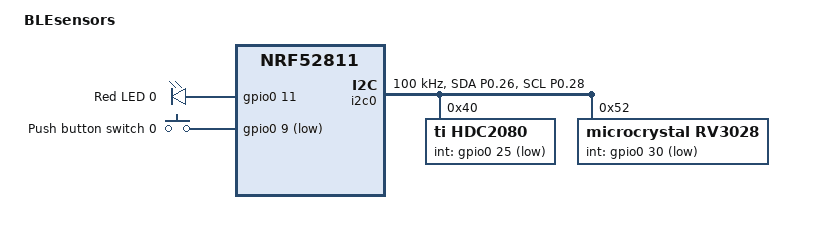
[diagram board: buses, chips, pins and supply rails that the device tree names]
/dts-v1/;
#include <nordic/nrf52811_qfaa.dtsi>

/ {
	model = "BLEsensors";
	compatible = "nordic,nrf52811";

	chosen {
		// zephyr,console = &uart0;
		// zephyr,shell-uart = &uart0;
		// zephyr,uart-mcumgr = &uart0;
		// zephyr,bt-mon-uart = &uart0;
		// zephyr,bt-c2h-uart = &uart0;
		zephyr,sram = &sram0;
		zephyr,flash = &flash0;
		zephyr,code-partition = &slot0_partition;
	};

	leds {
		compatible = "gpio-leds";

		led0: led_0 {
			gpios = <&gpio0 11 GPIO_ACTIVE_HIGH>;
			label = "Red LED 0";
		};
	};

	buttons {
		compatible = "gpio-keys";

		button0: button_0 {
			gpios = <&gpio0 9 (GPIO_PULL_UP | GPIO_ACTIVE_LOW)>;
			label = "Push button switch 0";
			zephyr,code = <INPUT_KEY_0>;
		};
	};

	/* These aliases are provided for compatibility with samples */
	aliases {
		led0 = &led0;
		sw0 = &button0;
	};
};

// &clock {
// 	status = "okay";
// 	lfclk {
// 		source = "LFRC";
// 		cal-enabled = <1>;
// 	};
// };

&reg {
	regulator-initial-mode = <NRF5X_REG_MODE_DCDC>;
};

&uicr {
	gpio-as-nreset;
};

&gpiote {
	status = "okay";
};

&gpio0 {
	status = "okay";
};

&pinctrl {
    i2c0_default: i2c0_default {
        group1 {
            psels = <NRF_PSEL(TWIM_SDA, 0, 26)>,
                    <NRF_PSEL(TWIM_SCL, 0, 28)>;
        };
    };
    i2c0_sleep: i2c0_sleep {
        group1 {
            psels = <NRF_PSEL(TWIM_SDA, 0, 26)>,
                    <NRF_PSEL(TWIM_SCL, 0, 28)>;
            low-power-enable;
        };
    };
};

&i2c0 {
    status = "okay";
	pinctrl-0 = <&i2c0_default>;
    pinctrl-1 = <&i2c0_sleep>;
    pinctrl-names = "default", "sleep";
    clock-frequency = <I2C_BITRATE_STANDARD>;  /* 100 kHz */

    /* HDC2080 temperature & humidity sensor */
    hdc2080@40 {
		status = "okay";
        compatible = "ti,hdc2080";
        reg = <0x40>;
        int-gpios = <&gpio0 25 (GPIO_PULL_UP | GPIO_ACTIVE_LOW)>;
        label = "HDC2080";
		zephyr,deferred-init;
    };

    /* RV-3028-C7 real-time clock */
    rv3028@52 {
		status = "okay";
        compatible = "microcrystal,rv3028";
        reg = <0x52>;
        int-gpios = <&gpio0 30 (GPIO_PULL_UP | GPIO_ACTIVE_LOW)>;
        label = "RV3028";
		backup-switch-mode = "disabled";
		trickle-resistor-ohms = <15000>;
		zephyr,deferred-init;
    };
};


&flash0 {
	partitions {
		compatible = "fixed-partitions";
		#address-cells = <1>;
		#size-cells = <1>;

		boot_partition: partition@0 {
			label = "mcuboot";
			reg = <0x00000000 0xc000>;
		};

		slot0_partition: partition@c000 {
			label = "image-0";
			reg = <0x0000C000 0xe000>;
		};

		slot1_partition: partition@1a000 {
			label = "image-1";
			reg = <0x0001a000 0xe000>;
		};

		storage_partition: partition@28000 {
			label = "storage";
			reg = <0x00028000 0x00008000>;
		};
	};
};
